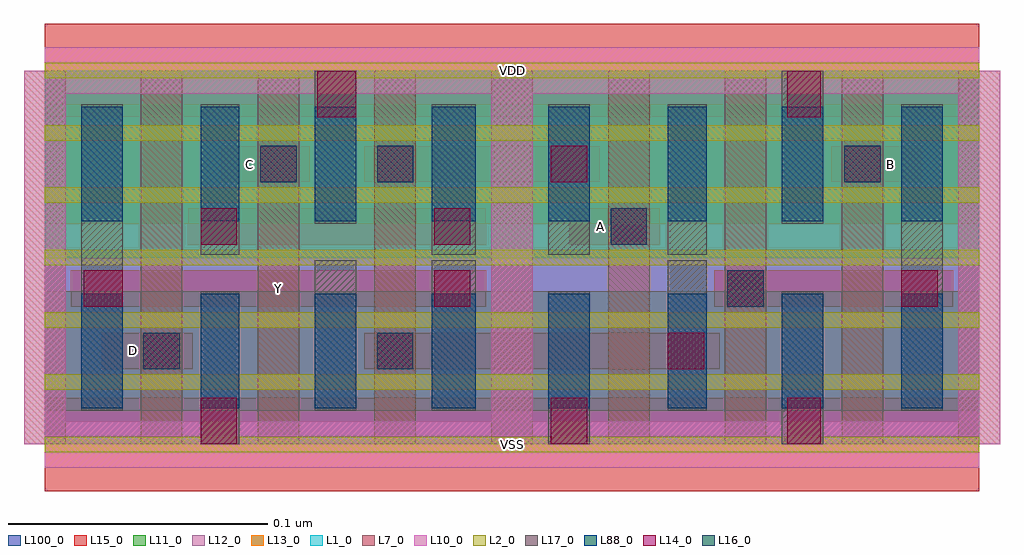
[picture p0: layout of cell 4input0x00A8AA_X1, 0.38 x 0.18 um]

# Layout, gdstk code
import gdstk
lib = gdstk.Library(unit=1e-6, precision=1e-09)
def R(c, l, rs):  # rectangles x0, y0, x1, y1
    for r in rs: c.add(gdstk.rectangle(r[:2], r[2:], *l))
def A(c, l, x, y, w, h, nx, ny, dx, dy):  # array of equal rectangles
    R(c, l, [(x+i*dx, y+j*dy, x+i*dx+w, y+j*dy+h) for i in range(nx) for j in range(ny)])
def P(c, l, *ps):  # polygons
    for p in ps: c.add(gdstk.Polygon(p, *l))
L1_0 = (1, 0)
L2_0 = (2, 0)
L7_0 = (7, 0)
L10_0 = (10, 0)
L11_0 = (11, 0)
L12_0 = (12, 0)
L13_0 = (13, 0)
L14_0 = (14, 0)
L15_0 = (15, 0)
L16_0 = (16, 0)
L17_0 = (17, 0)
L88_0 = (88, 0)
L100_0 = (100, 0)

c_4input0x00a8aa_x1 = lib.new_cell('4input0x00A8AA_X1')
R(c_4input0x00a8aa_x1, L1_0, [(0,0.072,0.36,0.144)])
A(c_4input0x00a8aa_x1, L2_0, 0, -0.003, 0.36, 0.006, 1, 7, 0, 0.024)
A(c_4input0x00a8aa_x1, L7_0, -0.008, 0, 0.016, 0.144, 9, 1, 0.045, 0)
P(c_4input0x00a8aa_x1, L10_0, [(0,-0.009),(0,0),(-0.008,0),(-0.008,0.135),(0.008,0.135),(0.008,0.009),(0.172,0.009),(0.172,0.135),(0.188,0.135),(0.188,0.009),(0.352,0.009),(0.352,0.135),(-0.008,0.135),(-0.008,0.144),(0,0.144),(0,0.153),(0.36,0.153),(0.36,0.144),(0.368,0.144),(0.368,0),(0.36,0),(0.36,-0.009)])
R(c_4input0x00a8aa_x1, L11_0, [(0,0.013,0.36,0.059), (0,0.085,0.36,0.131)])
R(c_4input0x00a8aa_x1, L12_0, [(0,0,0.36,0.072)])
R(c_4input0x00a8aa_x1, L13_0, [(0,0.072,0.36,0.144)])
R(c_4input0x00a8aa_x1, L14_0, [(0.06,0,0.074,0.018), (0.195,0,0.209,0.018), (0.286,0,0.299,0.018), (0.038,0.029,0.052,0.043), (0.128,0.029,0.142,0.043), (0.24,0.029,0.254,0.043), (0.015,0.053,0.03,0.067), (0.15,0.053,0.164,0.067), (0.263,0.053,0.277,0.067), (0.33,0.053,0.344,0.067), (0.06,0.077,0.074,0.091), (0.15,0.077,0.164,0.091), (0.218,0.077,0.232,0.091), (0.083,0.101,0.097,0.115), (0.128,0.101,0.142,0.115), (0.195,0.101,0.209,0.115), (0.308,0.101,0.322,0.115), (0.105,0.126,0.12,0.144), (0.286,0.126,0.299,0.144)])
R(c_4input0x00a8aa_x1, L15_0, [(0,-0.018,0.36,0.018), (0.022,0.029,0.057,0.043), (0.123,0.029,0.26,0.043), (0.01,0.053,0.17,0.067), (0.258,0.053,0.35,0.067), (0.055,0.077,0.17,0.091), (0.202,0.077,0.237,0.091), (0.068,0.101,0.102,0.115), (0.123,0.101,0.214,0.115), (0.303,0.101,0.338,0.115), (0,0.126,0.36,0.162)])
R(c_4input0x00a8aa_x1, L16_0, [(0.038,0.029,0.052,0.043), (0.128,0.029,0.142,0.043), (0.263,0.053,0.277,0.067), (0.218,0.077,0.232,0.091), (0.083,0.101,0.097,0.115), (0.128,0.101,0.142,0.115), (0.308,0.101,0.322,0.115)])
R(c_4input0x00a8aa_x1, L17_0, [(0.06,0,0.075,0.059), (0.194,0,0.21,0.059), (0.284,0,0.3,0.059), (0.014,0.013,0.03,0.131), (0.104,0.013,0.12,0.071), (0.149,0.013,0.166,0.071), (0.24,0.013,0.255,0.071), (0.33,0.013,0.346,0.131), (0.06,0.073,0.075,0.131), (0.149,0.073,0.166,0.131), (0.194,0.073,0.21,0.131), (0.24,0.073,0.255,0.131), (0.104,0.085,0.12,0.144), (0.284,0.085,0.3,0.144)])
A(c_4input0x00a8aa_x1, L88_0, 0.014, 0.014, 0.016, 0.044, 4, 2, 0.09, 0.072)
R(c_4input0x00a8aa_x1, L88_0, [(0.06,0.014,0.075,0.058), (0.149,0.014,0.166,0.058), (0.24,0.014,0.255,0.058), (0.33,0.014,0.346,0.058), (0.06,0.086,0.075,0.13), (0.149,0.086,0.166,0.13), (0.24,0.086,0.255,0.13), (0.33,0.086,0.346,0.13)])
R(c_4input0x00a8aa_x1, L100_0, [(0,0,0.36,0.144)])
c_4input0x00a8aa_x1.add(gdstk.Label('B', (0.326,0.108), layer=15, texttype=251))
c_4input0x00a8aa_x1.add(gdstk.Label('VSS', (0.18,0), layer=15, texttype=251))
c_4input0x00a8aa_x1.add(gdstk.Label('VDD', (0.18,0.144), layer=15, texttype=251))
c_4input0x00a8aa_x1.add(gdstk.Label('C', (0.079,0.108), layer=15, texttype=251))
c_4input0x00a8aa_x1.add(gdstk.Label('VSS', (0.18,0), layer=15, texttype=251))
c_4input0x00a8aa_x1.add(gdstk.Label('VDD', (0.18,0.144), layer=15, texttype=251))
c_4input0x00a8aa_x1.add(gdstk.Label('D', (0.034,0.036), layer=15, texttype=251))
c_4input0x00a8aa_x1.add(gdstk.Label('VSS', (0.18,0), layer=15, texttype=251))
c_4input0x00a8aa_x1.add(gdstk.Label('VDD', (0.18,0.144), layer=15, texttype=251))
c_4input0x00a8aa_x1.add(gdstk.Label('Y', (0.09,0.06), layer=15, texttype=251))
c_4input0x00a8aa_x1.add(gdstk.Label('VSS', (0.18,0), layer=15, texttype=251))
c_4input0x00a8aa_x1.add(gdstk.Label('VDD', (0.18,0.144), layer=15, texttype=251))
c_4input0x00a8aa_x1.add(gdstk.Label('A', (0.214,0.084), layer=15, texttype=251))
c_4input0x00a8aa_x1.add(gdstk.Label('VSS', (0.18,0), layer=15, texttype=251))
c_4input0x00a8aa_x1.add(gdstk.Label('VDD', (0.18,0.144), layer=15, texttype=251))
c_4input0x00a8aa_x1.add(gdstk.Label('VSS', (0.18,0), layer=3, texttype=251))
c_4input0x00a8aa_x1.add(gdstk.Label('VSS', (0.18,0), layer=3, texttype=251))
c_4input0x00a8aa_x1.add(gdstk.Label('VSS', (0.18,0), layer=3, texttype=251))
c_4input0x00a8aa_x1.add(gdstk.Label('VSS', (0.18,0), layer=3, texttype=251))
c_4input0x00a8aa_x1.add(gdstk.Label('VSS', (0.18,0), layer=3, texttype=251))
c_4input0x00a8aa_x1.add(gdstk.Label('VDD', (0.18,0.144), layer=1, texttype=251))
c_4input0x00a8aa_x1.add(gdstk.Label('VDD', (0.18,0.144), layer=1, texttype=251))
c_4input0x00a8aa_x1.add(gdstk.Label('VDD', (0.18,0.144), layer=1, texttype=251))
c_4input0x00a8aa_x1.add(gdstk.Label('VDD', (0.18,0.144), layer=1, texttype=251))
c_4input0x00a8aa_x1.add(gdstk.Label('VDD', (0.18,0.144), layer=1, texttype=251))

lib.write_gds('4input0x00A8AA_X1.gds')
